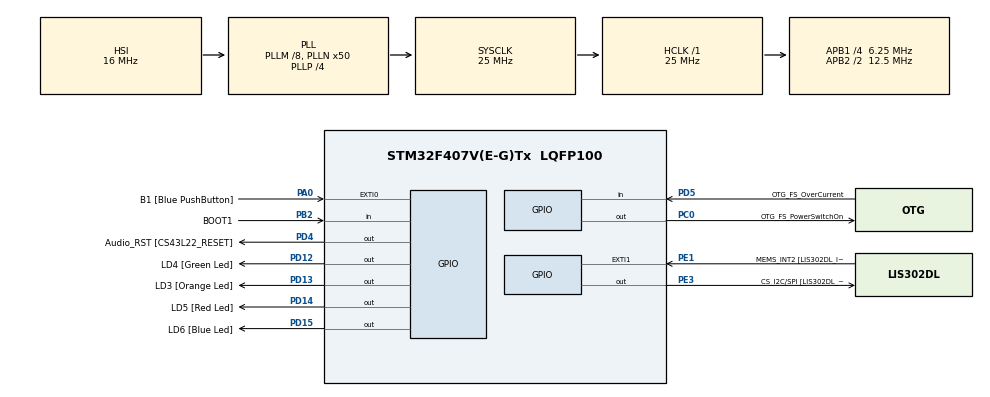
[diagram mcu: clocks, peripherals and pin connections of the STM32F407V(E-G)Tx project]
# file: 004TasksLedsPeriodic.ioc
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Mcu.Family=STM32F4
Mcu.Name=STM32F407V(E-G)Tx
Mcu.Package=LQFP100
NVIC.PriorityGroup=NVIC_PRIORITYGROUP_4
NVIC.TIM8_TRG_COM_TIM14_IRQn=true\:0\:0\:false\:false\:true\:false\:true
NVIC.TimeBase=TIM8_TRG_COM_TIM14_IRQn
NVIC.TimeBaseIP=TIM14
PA0-WKUP.GPIO_Label=B1 [Blue PushButton]
PA0-WKUP.Signal=GPXTI0
PA10.GPIO_Label=OTG_FS_ID
PA10.GPIO_Mode=GPIO_MODE_AF_PP
PA10.GPIO_PuPd=GPIO_NOPULL
PA10.GPIO_Speed=GPIO_SPEED_FREQ_LOW
PA10.Signal=USB_OTG_FS_ID
PA11.GPIO_Label=OTG_FS_DM
PA11.GPIO_Mode=GPIO_MODE_AF_PP
PA11.GPIO_PuPd=GPIO_NOPULL
PA11.GPIO_Speed=GPIO_SPEED_FREQ_LOW
PA11.Signal=USB_OTG_FS_DM
PA12.GPIO_Label=OTG_FS_DP
PA12.GPIO_Mode=GPIO_MODE_AF_PP
PA12.GPIO_PuPd=GPIO_NOPULL
PA12.GPIO_Speed=GPIO_SPEED_FREQ_LOW
PA12.Signal=USB_OTG_FS_DP
PA13.GPIO_Label=SWDIO
PA13.Signal=SYS_JTMS-SWDIO
PA14.GPIO_Label=SWCLK
PA14.Signal=SYS_JTCK-SWCLK
PA4.GPIO_Label=I2S3_WS [CS43L22_LRCK]
PA4.GPIO_Mode=GPIO_MODE_AF_PP
PA4.GPIO_PuPd=GPIO_NOPULL
PA4.GPIO_Speed=GPIO_SPEED_FREQ_LOW
PA4.Signal=I2S3_WS
PA5.GPIO_Label=SPI1_SCK [LIS302DL_SCL/SPC]
PA5.GPIO_Mode=GPIO_MODE_AF_PP
PA5.GPIO_PuPd=GPIO_NOPULL
PA5.GPIO_Speed=GPIO_SPEED_FREQ_LOW
PA5.Signal=SPI1_SCK
PA6.GPIO_Label=SPI1_MISO [LIS302DL_SDO]
PA6.GPIO_Mode=GPIO_MODE_AF_PP
PA6.GPIO_PuPd=GPIO_NOPULL
PA6.GPIO_Speed=GPIO_SPEED_FREQ_LOW
PA6.Signal=SPI1_MISO
PA7.GPIO_Label=SPI1_MOSI [LIS302DL_SDA/SDI/SDO]
PA7.GPIO_Mode=GPIO_MODE_AF_PP
PA7.GPIO_PuPd=GPIO_NOPULL
PA7.GPIO_Speed=GPIO_SPEED_FREQ_LOW
PA7.Signal=SPI1_MOSI
PA9.GPIO_Label=VBUS_FS
PA9.GPIO_Mode=GPIO_MODE_INPUT
PA9.GPIO_PuPd=GPIO_NOPULL
PA9.Signal=USB_OTG_FS_VBUS
PB10.GPIO_Label=CLK_IN [MP45DT02_CLK]
PB10.GPIO_Mode=GPIO_MODE_AF_PP
PB10.GPIO_PuPd=GPIO_NOPULL
PB10.GPIO_Speed=GPIO_SPEED_FREQ_LOW
PB10.Signal=I2S2_CK
PB2.GPIO_Label=BOOT1
PB2.GPIO_Mode=GPIO_MODE_INPUT
PB2.GPIO_PuPd=GPIO_NOPULL
PB2.Signal=GPIO_Input
PB3.GPIO_Label=SWO
PB3.Signal=SYS_JTDO-SWO
PB6.GPIO_Label=Audio_SCL [CS43L22_SCL]
PB6.GPIO_Mode=GPIO_MODE_AF_OD
PB6.GPIO_PuPd=GPIO_NOPULL
PB6.GPIO_Speed=GPIO_SPEED_FREQ_LOW
PB6.Signal=I2C1_SCL
PB9.GPIO_Label=Audio_SDA [CS43L22_SDA]
PB9.GPIO_Mode=GPIO_MODE_AF_OD
PB9.GPIO_PuPd=GPIO_NOPULL
PB9.GPIO_Speed=GPIO_SPEED_FREQ_LOW
PB9.Signal=I2C1_SDA
PC0.GPIO_Label=OTG_FS_PowerSwitchOn
PC0.GPIO_PuPd=GPIO_NOPULL
PC0.GPIO_Speed=GPIO_SPEED_FREQ_LOW
PC0.PinState=GPIO_PIN_SET
PC0.Signal=GPIO_Output
PC10.GPIO_Label=I2S3_SCK [CS43L22_SCLK]
PC10.GPIO_Mode=GPIO_MODE_AF_PP
PC10.GPIO_PuPd=GPIO_NOPULL
PC10.GPIO_Speed=GPIO_SPEED_FREQ_LOW
PC10.Signal=I2S3_CK
PC12.GPIO_Label=I2S3_SD [CS43L22_SDIN]
PC12.GPIO_Mode=GPIO_MODE_AF_PP
PC12.GPIO_PuPd=GPIO_NOPULL
PC12.GPIO_Speed=GPIO_SPEED_FREQ_LOW
PC12.Signal=I2S3_SD
PC14-OSC32_IN.GPIO_Label=PC14-OSC32_IN
PC14-OSC32_IN.Signal=RCC_OSC32_IN
PC15-OSC32_OUT.GPIO_Label=PC15-OSC32_OUT
PC15-OSC32_OUT.Signal=RCC_OSC32_OUT
PC3.GPIO_Label=PDM_OUT [MP45DT02_DOUT]
PC3.GPIO_Mode=GPIO_MODE_AF_PP
PC3.GPIO_PuPd=GPIO_NOPULL
PC3.GPIO_Speed=GPIO_SPEED_FREQ_LOW
PC3.Signal=I2S2_SD
PC7.GPIO_Label=I2S3_MCK [CS43L22_MCLK]
PC7.GPIO_Mode=GPIO_MODE_AF_PP
PC7.GPIO_PuPd=GPIO_NOPULL
PC7.GPIO_Speed=GPIO_SPEED_FREQ_LOW
PC7.Signal=I2S3_MCK
PD12.GPIO_Label=LD4 [Green Led]
PD12.GPIO_PuPd=GPIO_NOPULL
PD12.GPIO_Speed=GPIO_SPEED_FREQ_LOW
PD12.Signal=GPIO_Output
PD13.GPIO_Label=LD3 [Orange Led]
PD13.GPIO_PuPd=GPIO_NOPULL
PD13.GPIO_Speed=GPIO_SPEED_FREQ_LOW
PD13.Signal=GPIO_Output
PD14.GPIO_Label=LD5 [Red Led]
PD14.GPIO_PuPd=GPIO_NOPULL
PD14.GPIO_Speed=GPIO_SPEED_FREQ_LOW
PD14.Signal=GPIO_Output
PD15.GPIO_Label=LD6 [Blue Led]
PD15.GPIO_PuPd=GPIO_NOPULL
PD15.GPIO_Speed=GPIO_SPEED_FREQ_LOW
PD15.Signal=GPIO_Output
PD4.GPIO_Label=Audio_RST [CS43L22_RESET]
PD4.GPIO_PuPd=GPIO_NOPULL
PD4.GPIO_Speed=GPIO_SPEED_FREQ_LOW
PD4.Signal=GPIO_Output
PD5.GPIO_Label=OTG_FS_OverCurrent
PD5.GPIO_Mode=GPIO_MODE_INPUT
PD5.GPIO_PuPd=GPIO_NOPULL
PD5.Signal=GPIO_Input
PE1.GPIO_Label=MEMS_INT2 [LIS302DL_INT2]
PE1.GPIO_ModeDefaultEXTI=GPIO_MODE_EVT_RISING
PE1.GPIO_PuPd=GPIO_NOPULL
PE1.Signal=GPXTI1
PE3.GPIO_Label=CS_I2C/SPI [LIS302DL_CS_I2C/SPI]
PE3.GPIO_PuPd=GPIO_NOPULL
PE3.GPIO_Speed=GPIO_SPEED_FREQ_LOW
PE3.Signal=GPIO_Output
PH0-OSC_IN.GPIO_Label=PH0-OSC_IN
PH0-OSC_IN.Signal=RCC_OSC_IN
PH1-OSC_OUT.GPIO_Label=PH1-OSC_OUT
PH1-OSC_OUT.Signal=RCC_OSC_OUT
ProjectManager.HeapSize=0x200
ProjectManager.StackSize=0x400
ProjectManager.TargetToolchain=STM32CubeIDE
RCC.48MHZClocksFreq_Value=14285714.285714285
RCC.AHBFreq_Value=25000000
RCC.APB1CLKDivider=RCC_HCLK_DIV4
RCC.APB1Freq_Value=6250000
RCC.APB1TimFreq_Value=12500000
RCC.APB2CLKDivider=RCC_HCLK_DIV2
RCC.APB2Freq_Value=12500000
RCC.APB2TimFreq_Value=25000000
RCC.CortexFreq_Value=25000000
RCC.HCLKFreq_Value=25000000
RCC.HSE_VALUE=8000000
RCC.HSI_VALUE=16000000
RCC.LSE_VALUE=32768
RCC.PLLM=8
RCC.PLLN=50
RCC.PLLP=RCC_PLLP_DIV4
RCC.PLLQ=7
RCC.SYSCLKFreq_VALUE=25000000
RCC.SYSCLKSource=RCC_SYSCLKSOURCE_PLLCLK
RCC.VCOOutputFreq_Value=100000000
VP_SYS_VS_tim14.Mode=TIM14
board=STM32F407G-DISC1

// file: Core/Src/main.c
/* USER CODE BEGIN Header */
/**
  ******************************************************************************
  * @file           : main.c
  * @brief          : Main program body
  ******************************************************************************
  * @attention
  *
  * Copyright (c) 2022 STMicroelectronics.
  * All rights reserved.
  *
  * This software is licensed under terms that can be found in the LICENSE file
  * in the root directory of this software component.
  * If no LICENSE file comes with this software, it is provided AS-IS.
  *
  ******************************************************************************
  */
/* USER CODE END Header */
#include "main.h"

/* USER CODE BEGIN Includes */
#include "FreeRTOS.h"
#include "task.h"
#include <stdio.h>

/* USER CODE END Includes */

/* USER CODE BEGIN PV */
#define DWT_CTRL (*(volatile uint32_t*)	0xE0001000)

/* USER CODE END PV */

void SystemClock_Config(void);
static void MX_GPIO_Init(void);
/* USER CODE BEGIN PFP */
void led_green_handler(void* parameters);
void led_orange_handler(void* parameters);
void led_red_handler(void* parameters);
void led_blue_handler(void* parameters);
void led_button_handler(void* parameters);

TaskHandle_t task1_handle;
TaskHandle_t task2_handle;
TaskHandle_t task3_handle;
TaskHandle_t task4_handle;
TaskHandle_t task5_handle;

TaskHandle_t  volatile next_task_handle = NULL;

/* USER CODE END PFP */

int main(void)
{
  /* USER CODE BEGIN 1 */

	BaseType_t status;
  /* USER CODE END 1 */

  /* MCU Configuration--------------------------------------------------------*/

  /* Reset of all peripherals, Initializes the Flash interface and the Systick. */
  HAL_Init();

  /* Configure the system clock */
  SystemClock_Config();

  /* Initialize all configured peripherals */
  MX_GPIO_Init();
  /* USER CODE BEGIN 2 */

  DWT_CTRL |= (1<<0);

  SEGGER_SYSVIEW_Conf();

  SEGGER_SYSVIEW_Start();

  status = xTaskCreate(led_green_handler, "Led Green Task", 200, NULL, 2, &task1_handle);

  configASSERT(status==pdPASS);

  next_task_handle= task1_handle;

  status = xTaskCreate(led_orange_handler, "Led Orange Task", 200, NULL, 2, &task2_handle);

  configASSERT(status==pdPASS);

  status = xTaskCreate(led_red_handler, "Led Red Task", 200, NULL, 2, &task3_handle);

  configASSERT(status==pdPASS);

  status = xTaskCreate(led_blue_handler, "Led Blue Task", 200, NULL, 2, &task4_handle);

  configASSERT(status==pdPASS);

  status = xTaskCreate(led_button_handler, " Button Task", 200, NULL, 4, &task5_handle);

  configASSERT(status==pdPASS);

  vTaskStartScheduler();
  /* USER CODE END 2 */

  /* Infinite loop */
  while (1)
  {

  }
}

void SystemClock_Config(void)
{
  RCC_OscInitTypeDef RCC_OscInitStruct = {0};
  RCC_ClkInitTypeDef RCC_ClkInitStruct = {0};

  /** Configure the main internal regulator output voltage
  */
  __HAL_RCC_PWR_CLK_ENABLE();
  __HAL_PWR_VOLTAGESCALING_CONFIG(PWR_REGULATOR_VOLTAGE_SCALE1);
  /** Initializes the RCC Oscillators according to the specified parameters
  * in the RCC_OscInitTypeDef structure.
  */
  RCC_OscInitStruct.OscillatorType = RCC_OSCILLATORTYPE_HSI;
  RCC_OscInitStruct.HSIState = RCC_HSI_ON;
  RCC_OscInitStruct.HSICalibrationValue = RCC_HSICALIBRATION_DEFAULT;
  RCC_OscInitStruct.PLL.PLLState = RCC_PLL_ON;
  RCC_OscInitStruct.PLL.PLLSource = RCC_PLLSOURCE_HSI;
  RCC_OscInitStruct.PLL.PLLM = 8;
  RCC_OscInitStruct.PLL.PLLN = 50;
  RCC_OscInitStruct.PLL.PLLP = RCC_PLLP_DIV4;
  RCC_OscInitStruct.PLL.PLLQ = 7;
  if (HAL_RCC_OscConfig(&RCC_OscInitStruct) != HAL_OK)
  {
    Error_Handler();
  }
  /** Initializes the CPU, AHB and APB buses clocks
  */
  RCC_ClkInitStruct.ClockType = RCC_CLOCKTYPE_HCLK|RCC_CLOCKTYPE_SYSCLK
                              |RCC_CLOCKTYPE_PCLK1|RCC_CLOCKTYPE_PCLK2;
  RCC_ClkInitStruct.SYSCLKSource = RCC_SYSCLKSOURCE_PLLCLK;
  RCC_ClkInitStruct.AHBCLKDivider = RCC_SYSCLK_DIV1;
  RCC_ClkInitStruct.APB1CLKDivider = RCC_HCLK_DIV4;
  RCC_ClkInitStruct.APB2CLKDivider = RCC_HCLK_DIV2;

  if (HAL_RCC_ClockConfig(&RCC_ClkInitStruct, FLASH_LATENCY_0) != HAL_OK)
  {
    Error_Handler();
  }
}

static void MX_GPIO_Init(void)
{
  GPIO_InitTypeDef GPIO_InitStruct = {0};

  /* GPIO Ports Clock Enable */
  __HAL_RCC_GPIOE_CLK_ENABLE();
  __HAL_RCC_GPIOC_CLK_ENABLE();
  __HAL_RCC_GPIOH_CLK_ENABLE();
  __HAL_RCC_GPIOA_CLK_ENABLE();
  __HAL_RCC_GPIOB_CLK_ENABLE();
  __HAL_RCC_GPIOD_CLK_ENABLE();

  /*Configure GPIO pin Output Level */
  HAL_GPIO_WritePin(CS_I2C_SPI_GPIO_Port, CS_I2C_SPI_Pin, GPIO_PIN_RESET);

  /*Configure GPIO pin Output Level */
  HAL_GPIO_WritePin(OTG_FS_PowerSwitchOn_GPIO_Port, OTG_FS_PowerSwitchOn_Pin, GPIO_PIN_SET);

  /*Configure GPIO pin Output Level */
  HAL_GPIO_WritePin(GPIOD, LD4_Pin|LD3_Pin|LD5_Pin|LD6_Pin
                          |Audio_RST_Pin, GPIO_PIN_RESET);

  /*Configure GPIO pin : CS_I2C_SPI_Pin */
  GPIO_InitStruct.Pin = CS_I2C_SPI_Pin;
  GPIO_InitStruct.Mode = GPIO_MODE_OUTPUT_PP;
  GPIO_InitStruct.Pull = GPIO_NOPULL;
  GPIO_InitStruct.Speed = GPIO_SPEED_FREQ_LOW;
  HAL_GPIO_Init(CS_I2C_SPI_GPIO_Port, &GPIO_InitStruct);

  /*Configure GPIO pin : OTG_FS_PowerSwitchOn_Pin */
  GPIO_InitStruct.Pin = OTG_FS_PowerSwitchOn_Pin;
  GPIO_InitStruct.Mode = GPIO_MODE_OUTPUT_PP;
  GPIO_InitStruct.Pull = GPIO_NOPULL;
  GPIO_InitStruct.Speed = GPIO_SPEED_FREQ_LOW;
  HAL_GPIO_Init(OTG_FS_PowerSwitchOn_GPIO_Port, &GPIO_InitStruct);

  /*Configure GPIO pin : PDM_OUT_Pin */
  GPIO_InitStruct.Pin = PDM_OUT_Pin;
  GPIO_InitStruct.Mode = GPIO_MODE_AF_PP;
  GPIO_InitStruct.Pull = GPIO_NOPULL;
  GPIO_InitStruct.Speed = GPIO_SPEED_FREQ_LOW;
  GPIO_InitStruct.Alternate = GPIO_AF5_SPI2;
  HAL_GPIO_Init(PDM_OUT_GPIO_Port, &GPIO_InitStruct);

  /*Configure GPIO pin : B1_Pin */
  GPIO_InitStruct.Pin = B1_Pin;
  GPIO_InitStruct.Mode = GPIO_MODE_IT_RISING;
  GPIO_InitStruct.Pull = GPIO_NOPULL;
  HAL_GPIO_Init(B1_GPIO_Port, &GPIO_InitStruct);

  /*Configure GPIO pin : I2S3_WS_Pin */
  GPIO_InitStruct.Pin = I2S3_WS_Pin;
  GPIO_InitStruct.Mode = GPIO_MODE_AF_PP;
  GPIO_InitStruct.Pull = GPIO_NOPULL;
  GPIO_InitStruct.Speed = GPIO_SPEED_FREQ_LOW;
  GPIO_InitStruct.Alternate = GPIO_AF6_SPI3;
  HAL_GPIO_Init(I2S3_WS_GPIO_Port, &GPIO_InitStruct);

  /*Configure GPIO pins : SPI1_SCK_Pin SPI1_MISO_Pin SPI1_MOSI_Pin */
  GPIO_InitStruct.Pin = SPI1_SCK_Pin|SPI1_MISO_Pin|SPI1_MOSI_Pin;
  GPIO_InitStruct.Mode = GPIO_MODE_AF_PP;
  GPIO_InitStruct.Pull = GPIO_NOPULL;
  GPIO_InitStruct.Speed = GPIO_SPEED_FREQ_LOW;
  GPIO_InitStruct.Alternate = GPIO_AF5_SPI1;
  HAL_GPIO_Init(GPIOA, &GPIO_InitStruct);

  /*Configure GPIO pin : BOOT1_Pin */
  GPIO_InitStruct.Pin = BOOT1_Pin;
  GPIO_InitStruct.Mode = GPIO_MODE_INPUT;
  GPIO_InitStruct.Pull = GPIO_NOPULL;
  HAL_GPIO_Init(BOOT1_GPIO_Port, &GPIO_InitStruct);

  /*Configure GPIO pin : CLK_IN_Pin */
  GPIO_InitStruct.Pin = CLK_IN_Pin;
  GPIO_InitStruct.Mode = GPIO_MODE_AF_PP;
  GPIO_InitStruct.Pull = GPIO_NOPULL;
  GPIO_InitStruct.Speed = GPIO_SPEED_FREQ_LOW;
  GPIO_InitStruct.Alternate = GPIO_AF5_SPI2;
  HAL_GPIO_Init(CLK_IN_GPIO_Port, &GPIO_InitStruct);

  /*Configure GPIO pins : LD4_Pin LD3_Pin LD5_Pin LD6_Pin
                           Audio_RST_Pin */
  GPIO_InitStruct.Pin = LD4_Pin|LD3_Pin|LD5_Pin|LD6_Pin
                          |Audio_RST_Pin;
  GPIO_InitStruct.Mode = GPIO_MODE_OUTPUT_PP;
  GPIO_InitStruct.Pull = GPIO_NOPULL;
  GPIO_InitStruct.Speed = GPIO_SPEED_FREQ_LOW;
  HAL_GPIO_Init(GPIOD, &GPIO_InitStruct);

  /*Configure GPIO pins : I2S3_MCK_Pin I2S3_SCK_Pin I2S3_SD_Pin */
  GPIO_InitStruct.Pin = I2S3_MCK_Pin|I2S3_SCK_Pin|I2S3_SD_Pin;
  GPIO_InitStruct.Mode = GPIO_MODE_AF_PP;
  GPIO_InitStruct.Pull = GPIO_NOPULL;
  GPIO_InitStruct.Speed = GPIO_SPEED_FREQ_LOW;
  GPIO_InitStruct.Alternate = GPIO_AF6_SPI3;
  HAL_GPIO_Init(GPIOC, &GPIO_InitStruct);

  /*Configure GPIO pin : VBUS_FS_Pin */
  GPIO_InitStruct.Pin = VBUS_FS_Pin;
  GPIO_InitStruct.Mode = GPIO_MODE_INPUT;
  GPIO_InitStruct.Pull = GPIO_NOPULL;
  HAL_GPIO_Init(VBUS_FS_GPIO_Port, &GPIO_InitStruct);

  /*Configure GPIO pins : OTG_FS_ID_Pin OTG_FS_DM_Pin OTG_FS_DP_Pin */
  GPIO_InitStruct.Pin = OTG_FS_ID_Pin|OTG_FS_DM_Pin|OTG_FS_DP_Pin;
  GPIO_InitStruct.Mode = GPIO_MODE_AF_PP;
  GPIO_InitStruct.Pull = GPIO_NOPULL;
  GPIO_InitStruct.Speed = GPIO_SPEED_FREQ_LOW;
  GPIO_InitStruct.Alternate = GPIO_AF10_OTG_FS;
  HAL_GPIO_Init(GPIOA, &GPIO_InitStruct);

  /*Configure GPIO pin : OTG_FS_OverCurrent_Pin */
  GPIO_InitStruct.Pin = OTG_FS_OverCurrent_Pin;
  GPIO_InitStruct.Mode = GPIO_MODE_INPUT;
  GPIO_InitStruct.Pull = GPIO_NOPULL;
  HAL_GPIO_Init(OTG_FS_OverCurrent_GPIO_Port, &GPIO_InitStruct);

  /*Configure GPIO pins : Audio_SCL_Pin Audio_SDA_Pin */
  GPIO_InitStruct.Pin = Audio_SCL_Pin|Audio_SDA_Pin;
  GPIO_InitStruct.Mode = GPIO_MODE_AF_OD;
  GPIO_InitStruct.Pull = GPIO_NOPULL;
  GPIO_InitStruct.Speed = GPIO_SPEED_FREQ_LOW;
  GPIO_InitStruct.Alternate = GPIO_AF4_I2C1;
  HAL_GPIO_Init(GPIOB, &GPIO_InitStruct);

  /*Configure GPIO pin : MEMS_INT2_Pin */
  GPIO_InitStruct.Pin = MEMS_INT2_Pin;
  GPIO_InitStruct.Mode = GPIO_MODE_EVT_RISING;
  GPIO_InitStruct.Pull = GPIO_NOPULL;
  HAL_GPIO_Init(MEMS_INT2_GPIO_Port, &GPIO_InitStruct);

}

/* USER CODE BEGIN 4 */
void led_green_handler(void* parameters)
{
	BaseType_t status;
	while(1)
	{
		HAL_GPIO_TogglePin(GPIOD, LD4_Pin);
		SEGGER_SYSVIEW_PrintfTarget("Green Led toggled");
		status = xTaskNotifyWait(0,0,NULL,pdMS_TO_TICKS(1000));
		if(status==pdTRUE)
		{
			vTaskSuspendAll();
			next_task_handle = task2_handle;
			xTaskResumeAll();
			HAL_GPIO_WritePin(GPIOD, GPIO_PIN_12, GPIO_PIN_SET);
			vTaskDelete(task1_handle);
		}
	}
}
void led_orange_handler(void* parameters)
{
	BaseType_t status;
	while(1)
	{
		HAL_GPIO_TogglePin(GPIOD, LD3_Pin);
		SEGGER_SYSVIEW_PrintfTarget("Orange Led toggled");
		status = xTaskNotifyWait(0,0,NULL,pdMS_TO_TICKS(800));
		if(status==pdTRUE)
		{
			vTaskSuspendAll();
			next_task_handle = task3_handle;
			xTaskResumeAll();
			HAL_GPIO_WritePin(GPIOD, GPIO_PIN_13, GPIO_PIN_SET);
			vTaskDelete(task2_handle);
		}
	}
}
void led_red_handler(void* parameters)
{
	BaseType_t status;
	while(1)
	{
		HAL_GPIO_TogglePin(GPIOD, LD5_Pin);
		SEGGER_SYSVIEW_PrintfTarget("Red Led toggled");
		status = xTaskNotifyWait(0,0,NULL,pdMS_TO_TICKS(600));
		if(status==pdTRUE)
		{
			vTaskSuspendAll();
			next_task_handle = task4_handle;
			xTaskResumeAll();			HAL_GPIO_WritePin(GPIOD, GPIO_PIN_14, GPIO_PIN_SET);
			vTaskDelete(task3_handle);
		}
	}
}
void led_blue_handler(void* parameters)
{
	BaseType_t status;
	while(1)
	{
		HAL_GPIO_TogglePin(GPIOD, LD6_Pin);
		SEGGER_SYSVIEW_PrintfTarget("Blue Led toggled");
		status = xTaskNotifyWait(0,0,NULL,pdMS_TO_TICKS(400));
		if(status==pdTRUE)
		{
			vTaskSuspendAll();
			next_task_handle = NULL;
			xTaskResumeAll();
			HAL_GPIO_WritePin(GPIOD, GPIO_PIN_15, GPIO_PIN_SET);
			vTaskDelete(task5_handle);
			vTaskDelete(task4_handle);
		}
	}
}

void led_button_handler(void* parameters)
{
	uint8_t preReading = 0;
	uint8_t curReading = 0;

	while(1)
	{
		curReading= HAL_GPIO_ReadPin(GPIOA, GPIO_PIN_0);
		if(curReading)
		{
			if(! preReading)
			{
				xTaskNotify(next_task_handle,0,eNoAction);
			}
		}
		preReading=curReading;
		vTaskDelay(pdMS_TO_TICKS(10));
	}
}
/* USER CODE END 4 */

void HAL_TIM_PeriodElapsedCallback(TIM_HandleTypeDef *htim)
{
  if (htim->Instance == TIM14) {
    HAL_IncTick();
  }
}

void Error_Handler(void)
{
  __disable_irq();
  while (1)
  {
  }
}
